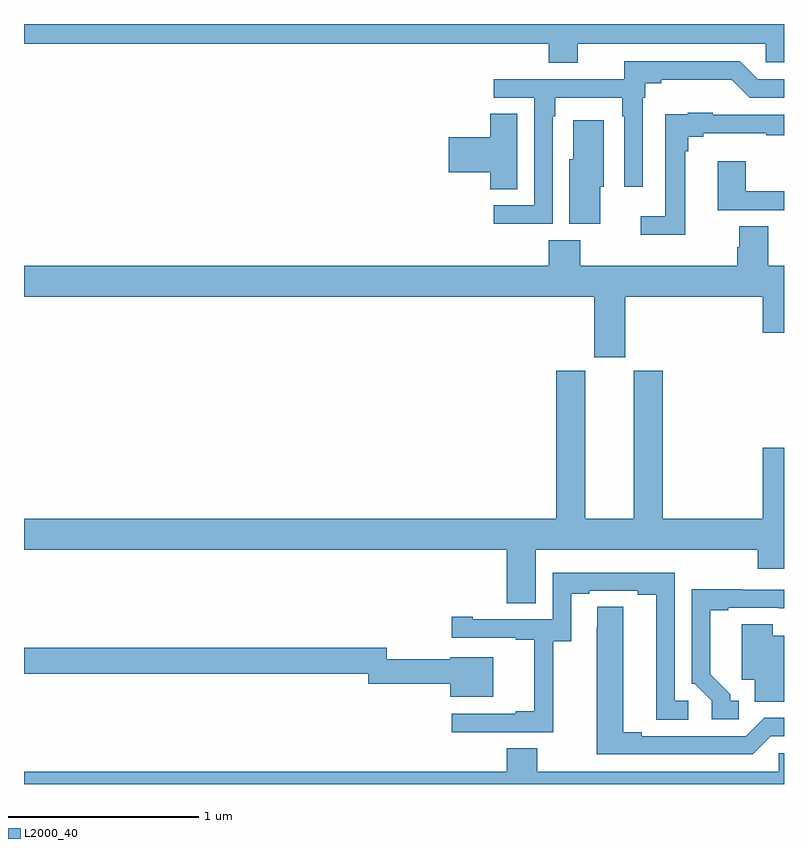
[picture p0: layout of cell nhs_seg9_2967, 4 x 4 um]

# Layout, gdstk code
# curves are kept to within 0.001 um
import gdstk
lib = gdstk.Library(unit=1e-6, precision=1e-09)
def P(c, l, *ps):  # polygons
    for p in ps: c.add(gdstk.Polygon(p, *l))
L2000_40 = (2000, 40)

nhs_seg9_2967 = lib.new_cell('nhs_seg9_2967')
P(nhs_seg9_2967, L2000_40, [(283.915,1220.396),(284.904,1220.396),(284.904,1220.298),(285,1220.298),(285,1220.5),(281,1220.5),(281,1220.396),(283.763,1220.396),(283.763,1220.297),(283.915,1220.297)],
  [(283.782,1220.015),(283.795,1220.015),(283.795,1220.112),(284.148,1220.112),(284.148,1220.015),(284.16,1220.015),(284.16,1219.644),(284.256,1219.644),(284.256,1220.111),(284.269,1220.111),(284.269,1220.188),(284.353,1220.188),(284.353,1220.207),(284.725,1220.207),(284.82,1220.112),(285,1220.112),(285,1220.208),(284.862,1220.208),(284.766,1220.304),(284.158,1220.304),(284.158,1220.208),(283.473,1220.208),(283.473,1220.112),(283.686,1220.112),(283.686,1219.545),(283.473,1219.545),(283.473,1219.449),(283.782,1219.449)],
  [(284.479,1219.829),(284.497,1219.829),(284.497,1219.906),(284.575,1219.906),(284.575,1219.925),(284.906,1219.925),(284.906,1219.914),(285,1219.914),(285,1220.022),(284.625,1220.022),(284.625,1220.032),(284.493,1220.032),(284.493,1220.024),(284.375,1220.024),(284.375,1219.489),(284.247,1219.489),(284.247,1219.391),(284.479,1219.391)],
  [(283.597,1220.027),(283.454,1220.027),(283.454,1219.904),(283.236,1219.904),(283.236,1219.721),(283.454,1219.721),(283.454,1219.63),(283.597,1219.63)],
  [(284.032,1219.644),(284.05,1219.644),(284.05,1219.993),(283.892,1219.993),(283.892,1219.788),(283.871,1219.788),(283.871,1219.449),(284.032,1219.449)],
  [(285,1219.619),(284.799,1219.619),(284.799,1219.777),(284.651,1219.777),(284.651,1219.521),(285,1219.521)],
  [(284.164,1219.064),(284.888,1219.064),(284.888,1218.876),(285,1218.876),(285,1219.228),(284.918,1219.228),(284.918,1219.436),(284.765,1219.436),(284.765,1219.326),(284.753,1219.326),(284.753,1219.228),(283.928,1219.228),(283.928,1219.363),(283.763,1219.363),(283.763,1219.228),(281,1219.228),(281,1219.064),(284,1219.064),(284,1218.747),(284.164,1218.747)],
  [(283.693,1217.732),(284.861,1217.732),(284.861,1217.634),(285,1217.634),(285,1218.271),(284.888,1218.271),(284.888,1217.896),(284.363,1217.896),(284.363,1218.675),(284.21,1218.675),(284.21,1217.896),(283.954,1217.896),(283.954,1218.675),(283.802,1218.675),(283.802,1217.896),(281,1217.896),(281,1217.732),(283.541,1217.732),(283.541,1217.452),(283.693,1217.452)],
  [(283.785,1217.251),(283.879,1217.251),(283.879,1217.502),(283.975,1217.502),(283.975,1217.517),(284.231,1217.517),(284.231,1217.497),(284.327,1217.497),(284.327,1216.837),(284.497,1216.837),(284.497,1216.938),(284.424,1216.938),(284.424,1217.613),(283.782,1217.613),(283.782,1217.367),(283.363,1217.367),(283.363,1217.38),(283.251,1217.38),(283.251,1217.271),(283.589,1217.271),(283.589,1217.259),(283.685,1217.259),(283.685,1216.882),(283.589,1216.882),(283.589,1216.869),(283.251,1216.869),(283.251,1216.773),(283.785,1216.773)],
  [(284.761,1216.938),(284.716,1216.938),(284.716,1216.973),(284.611,1217.078),(284.611,1217.415),(284.707,1217.415),(284.707,1217.427),(285,1217.426),(285,1217.523),(284.777,1217.523),(284.777,1217.525),(284.514,1217.525),(284.514,1217.028),(284.529,1217.028),(284.619,1216.938),(284.619,1216.842),(284.761,1216.842)],
  [(284.931,1216.752),(285,1216.752),(285,1216.848),(284.895,1216.848),(284.799,1216.752),(284.251,1216.752),(284.251,1216.772),(284.155,1216.772),(284.155,1217.432),(284.016,1217.432),(284.015,1216.656),(284.835,1216.656)],
  [(285,1217.281),(284.941,1217.281),(284.941,1217.342),(284.777,1217.342),(284.777,1217.048),(284.846,1217.048),(284.846,1216.933),(285,1216.933)],
  [(283.471,1217.167),(283.244,1217.167),(283.244,1217.156),(282.909,1217.156),(282.909,1217.216),(281,1217.216),(281,1217.08),(282.813,1217.08),(282.813,1217.028),(283.244,1217.028),(283.244,1216.958),(283.471,1216.958)],
  [(285,1216.662),(284.973,1216.662),(284.973,1216.564),(283.701,1216.564),(283.701,1216.688),(283.541,1216.688),(283.541,1216.564),(281,1216.564),(281,1216.5),(285,1216.5)])

lib.write_gds('nhs_seg9_2967.gds')
